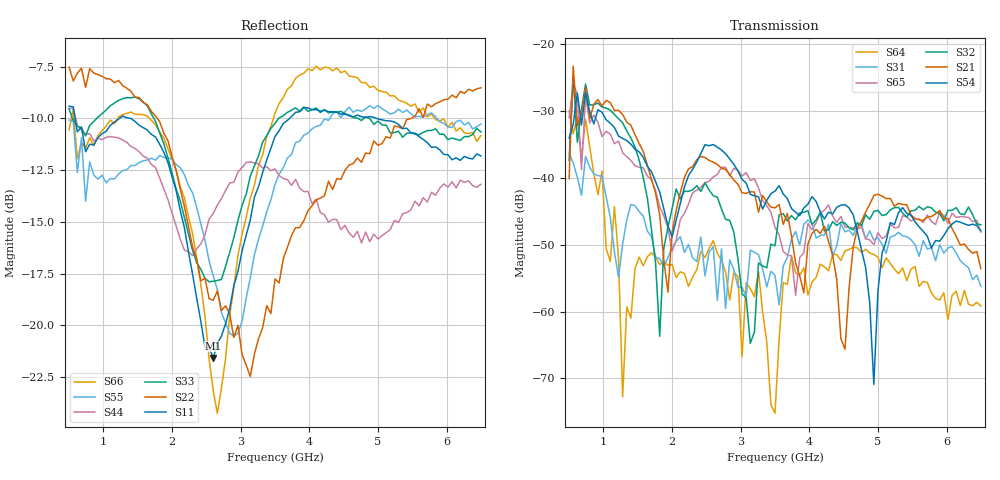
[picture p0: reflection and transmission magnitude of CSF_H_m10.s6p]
!Keysight Technologies,M9804A,MY58100912,A.14.10.03
!Date: Thursday, April 27, 2023 10:28:33
!Correction: S11(C  6-Port  )
!S12(C  6-Port  )
!S13(C  6-Port  )
!S14(C  6-Port  )
!S15(C  6-Port  )
!S16(C  6-Port  )
!S21(C  6-Port  )
!S22(C  6-Port  )
!S23(C  6-Port  )
!S24(C  6-Port  )
!S25(C  6-Port  )
!S26(C  6-Port  )
!S31(C  6-Port  )
!S32(C  6-Port  )
!S33(C  6-Port  )
!S34(C  6-Port  )
!S35(C  6-Port  )
!S36(C  6-Port  )
!S41(C  6-Port  )
!S42(C  6-Port  )
!S43(C  6-Port  )
!S44(C  6-Port  )
!S45(C  6-Port  )
!S46(C  6-Port  )
!S51(C  6-Port  )
!S52(C  6-Port  )
!S53(C  6-Port  )
!S54(C  6-Port  )
!S55(C  6-Port  )
!S56(C  6-Port  )
!S61(C  6-Port  )
!S62(C  6-Port  )
!S63(C  6-Port  )
!S64(C  6-Port  )
!S65(C  6-Port  )
!S66(C  6-Port  )
!S6P File: Measurement: :
# Hz S  RI  R 50
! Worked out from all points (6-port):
!   101 points, 500 MHz to 6.5 GHz, reference 50 ohm
!   strongest paths, dB at 500 MHz, 2 GHz, 3.5 GHz, 5 GHz, 6.5 GHz:
!     S54: -34.1, -48.8, -42.0, -56.9, -47.9
!     S21: -40.1, -48.2, -44.5, -42.4, -53.6
!     S32: -37.4, -44.6, -50.2, -44.9, -47.0
!     S65: -31.1, -51.0, -47.4, -48.2, -48.1
!     S31: -36.3, -50.4, -54.6, -49.0, -56.2
!     S64: -30.0, -53.0, -75.2, -51.9, -59.2
!   lowest |S11| = -21.6 dB at 2.6 GHz (marker M1), VSWR 1.18, Z = 42.6 + j2.05 ohm
!   |S11| at or under -10 dB: 587.6 MHz to 1.236 GHz (648.6 MHz wide, 71.1 % of centre); 1.389 GHz to 3.713 GHz (2.324 GHz wide, 91.1 % of centre); 4.977 GHz to end of sweep
